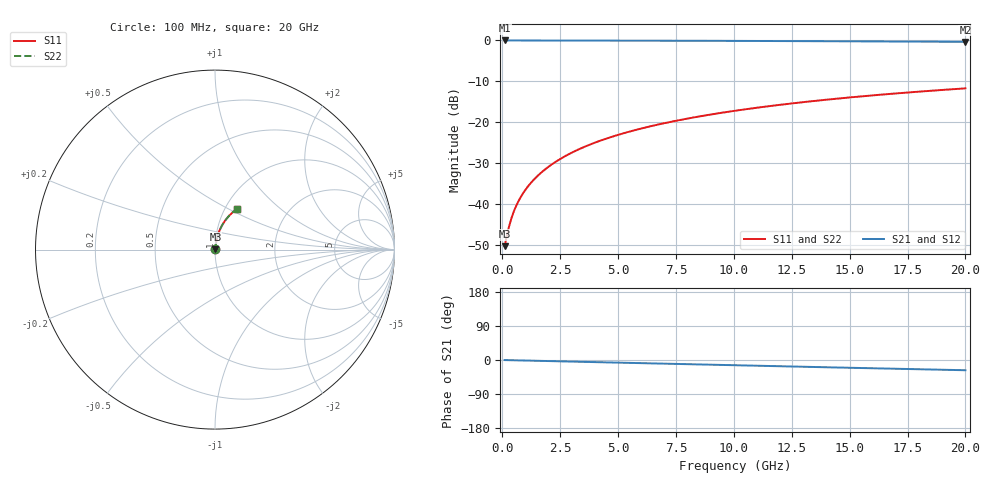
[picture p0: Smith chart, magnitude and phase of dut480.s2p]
! Touchstone file exported from HFSS 2026.1.0
!  File:  C:/ffzhzh/LocalFiles/Ansys_Project_Files/temp_train_BSMRDL_480_1783013823_4048.aedt
!  Generated:  01:38:34 AM Jul  3, 2026
!  Design:  BSMRDL
!  Project:  temp_train_BSMRDL_480_1783013823_4048
! Variables:
!  h_bsmrdl = 2.13um
!  h_ox = 20um
!  h_rdl = 5um
!  h_sub = 80um
!  h_tmrdl = 5um
!  h_tsv = 80um
!  h_via = 3um
!  l_bsmrdl = 356.22um
!  l_sub = 756.22um
!  l_tmrdl = 200um
!  m_sub = 200um
!  pitch = 52.39um
!  r_tsv = 6um
!  s_tmrdl = 10um
!  w_bsmrdl = 27.07um
!  w_sub = 500um
!  w_tmrdl = 12um
!  x_tsv_center1 = 206um
!  x_tsv_center2 = 589.29um
!  x_tsv_center3 = 801.29um
!  x_tsv_center4 = 1184.58um
!  x_tsv_center5 = 1396.58um
!  x_tsv_center6 = 1779.87um
# GHz S MA R 50.000000
! Terminal data exported
! Port[1] = BSM_RDL1_1_T1
! Port[2] = BSM_RDL1_1_T2
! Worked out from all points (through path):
!   200 points, 100 MHz to 20 GHz, reference 50 ohm
!   highest |S21| = -0.02 dB at 100 MHz (marker M1); lowest = -0.4 dB at 20 GHz (marker M2)
!   group delay of S21, straight-line fit = 3.75 ps
!   lowest |S11| = -50.3 dB at 100 MHz (marker M3), VSWR 1.01, Z = 50.3 + j0.157 ohm
!   |S11| at or under -10 dB: start of sweep to end of sweep
!   |S22| runs from -50.3 to -11.7 dB; largest |S21 - S12| = 2.6e-15
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0.1  0.003043 30.9  0.9974 -0.1  0.9974 -0.1  0.003043 30.9
! Gamma 0 0 0 0
! Port Impedance 50 0 50 0
0.2  0.004109 49.0  0.9973 -0.3  0.9973 -0.3  0.004109 49.0
0.3  0.005396 58.6  0.9972 -0.4  0.9972 -0.4  0.005396 58.6
0.4  0.006747 64.1  0.9971 -0.6  0.9971 -0.6  0.006747 64.1
0.5  0.008111 67.6  0.997 -0.7  0.997 -0.7  0.008111 67.6
0.6  0.009472 70.1  0.9969 -0.9  0.9969 -0.9  0.009472 70.1
0.8  0.01218 73.4  0.9967 -1.1  0.9967 -1.1  0.01218 73.4
1.1  0.01624 76.3  0.9965 -1.6  0.9965 -1.6  0.01624 76.3
1.3  0.01896 77.6  0.9964 -1.8  0.9964 -1.8  0.01896 77.6
1.6  0.02306 78.9  0.9962 -2.3  0.9962 -2.3  0.02306 78.9
2.1  0.02992 80.1  0.9959 -2.9  0.9959 -2.9  0.02992 80.1
2.7  0.0382 80.6  0.9956 -3.8  0.9956 -3.8  0.0382 80.6
3.5  0.04924 80.7  0.995 -4.9  0.995 -4.9  0.04924 80.7
4.2  0.0589 80.3  0.9944 -5.9  0.9944 -5.9  0.0589 80.3
5  0.0699 79.7  0.9935 -7.0  0.9935 -7.0  0.0699 79.7
5.9  0.08221 78.9  0.9924 -8.2  0.9924 -8.2  0.08221 78.9
6.8  0.09444 77.9  0.9912 -9.5  0.9912 -9.5  0.09444 77.9
8.3  0.1146 76.2  0.9888 -11.5  0.9888 -11.5  0.1146 76.2
10.1  0.1384 74.0  0.9854 -14.0  0.9854 -14.0  0.1384 74.0
13.4  0.1807 69.8  0.9778 -18.4  0.9778 -18.4  0.1807 69.8
16.7  0.2209 65.6  0.9689 -22.7  0.9689 -22.7  0.2209 65.6
20  0.2588 61.4  0.9589 -27.0  0.9589 -27.0  0.2588 61.4
